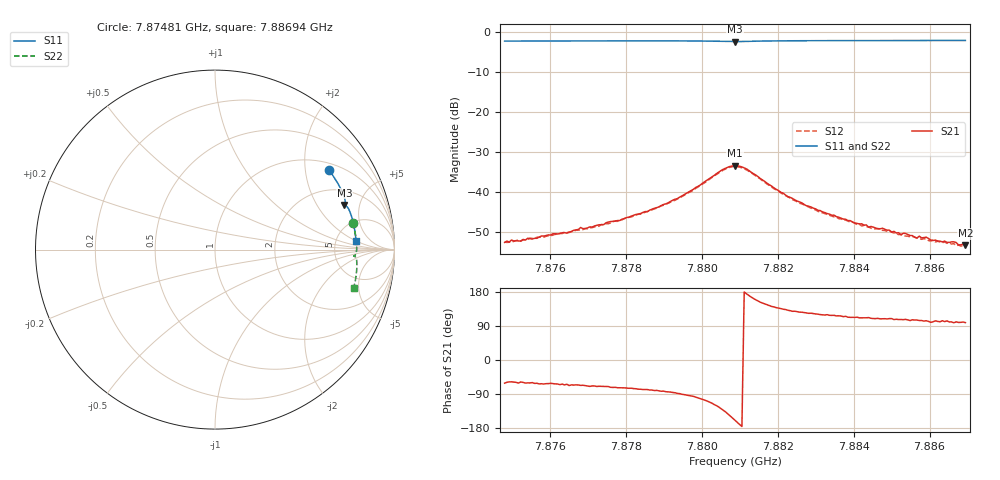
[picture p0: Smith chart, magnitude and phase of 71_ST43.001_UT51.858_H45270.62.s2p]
#  HZ  S  DB  R  50.00
! Rohde & Schwarz Vector Network Analyzer
! Rohde-Schwarz,ZNB20-2Port,1311601062101988,3.16
! Created: UTC 1/12/2023, 6:34:27 PM
! freq[Hz]  db:S11  ang:S11  db:S21  ang:S21  db:S12  ang:S12  db:S22  ang:S22
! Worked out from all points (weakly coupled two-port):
!   201 points, 7.87481 GHz to 7.88694 GHz, reference 50 ohm
!   highest |S21| = -33.40 dB at 7.88088 GHz (marker M1); lowest = -53.3 dB at 7.88694 GHz (marker M2)
!   lowest |S11| = -2.4 dB at 7.88088 GHz (marker M3), VSWR 7.42, Z = 150 + j178 ohm
!   |S11| at or under -10 dB: nowhere
!   |S22| runs from -2.2 to -1.9 dB; largest |S21 - S12| = 0.0013
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7.874812e9  -2.23 35.0  -52.57 -61.1  -52.51 -61.1  -2.14 11.0
7.87645e9  -2.20 30.6  -50.27 -63.9  -50.11 -68.7  -2.10 7.1
7.876814e9  -2.20 29.6  -48.86 -67.0  -49.38 -71.8  -2.09 6.3
7.876875e9  -2.19 29.4  -49.14 -66.6  -49.37 -70.4  -2.08 6.2
7.877845e9  -2.18 26.7  -47.10 -73.3  -46.94 -76.7  -2.06 3.9
7.878876e9  -2.18 23.9  -43.68 -81.5  -43.72 -85.0  -2.05 1.4
7.879725e9  -2.20 21.5  -39.60 -95.0  -39.84 -98.3  -2.07 -0.7
7.880575e9  -2.32 19.3  -34.26 -132.9  -34.46 -136.3  -2.19 -2.6
7.880878e9  -2.36 19.0  -33.40 -159.1  -33.57 -162.4  -2.23 -2.6
7.881181e9  -2.31 18.8  -34.20 174.7  -34.44 171.4  -2.19 -2.7
7.882273e9  -2.16 16.0  -41.14 131.3  -41.21 127.8  -2.02 -5.0
7.88294e9  -2.13 14.1  -44.01 122.5  -44.28 118.8  -1.98 -6.6
7.884396e9  -2.10 10.2  -48.78 111.9  -48.74 107.5  -1.95 -9.9
7.884942e9  -2.10 8.7  -49.51 109.3  -49.70 104.3  -1.94 -11.1
7.885245e9  -2.09 7.9  -50.72 106.8  -50.50 103.3  -1.93 -11.8
7.885366e9  -2.09 7.6  -50.35 107.2  -51.01 102.3  -1.93 -12.1
7.885669e9  -2.09 6.8  -51.47 105.5  -51.49 99.9  -1.93 -12.7
7.885912e9  -2.08 6.2  -51.28 103.6  -51.74 99.7  -1.92 -13.2
7.886033e9  -2.08 5.8  -52.01 99.4  -52.23 99.1  -1.93 -13.5
7.88664e9  -2.08 4.3  -52.44 98.3  -52.87 96.3  -1.92 -14.8
7.886701e9  -2.08 4.1  -52.61 100.7  -53.42 97.9  -1.92 -14.9
7.886943e9  -2.07 3.5  -53.33 98.6  -53.45 95.5  -1.92 -15.5
